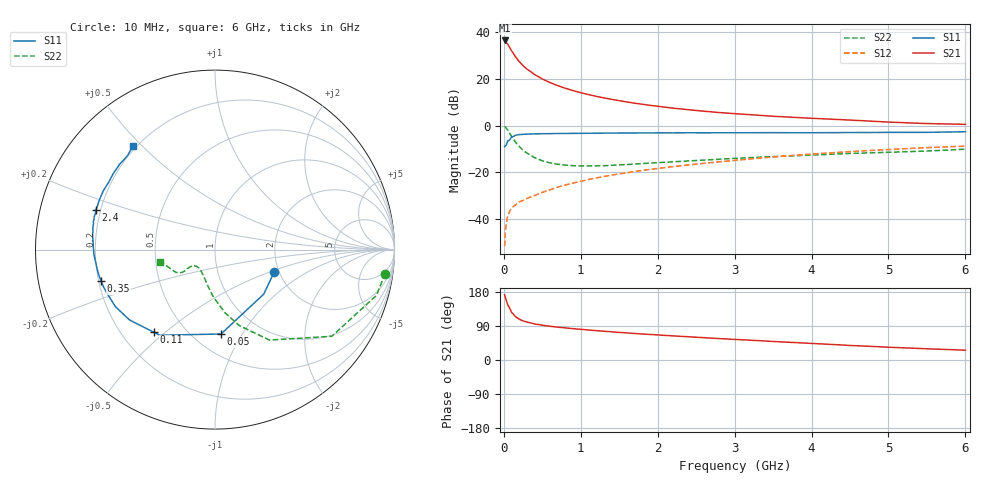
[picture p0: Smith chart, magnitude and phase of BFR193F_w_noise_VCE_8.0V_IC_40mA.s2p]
! Infineon Technologies  Discrete & RF Semiconductors
! BFR193F
! VCE =  8.0 V,  IC =  40 mA
! Common Emitter S-Parameters:  Jan 2017
# GHz  S  MA  R  50
!  f  S11  S21  S12  S22
! GHz  MAG  ANG  MAG  ANG  MAG  ANG  MAG  ANG
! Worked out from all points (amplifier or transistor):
!   77 points, 10 MHz to 6 GHz, reference 50 ohm
!   highest |S21| = 36.5 dB at 10 MHz (marker M1)
!   |S21| within 3 dB of that: start of sweep to 75.17 MHz
!   unconditionally stable (mu >= 1): 980.6 MHz to 2.631 GHz
!   at 130 MHz: K = 0.41, MSG = 32.6 dB, |S12| = -34.5 dB
!   at 2.2 GHz: K = 1.02, MAG = 11.8 dB, |S12| = -17.6 dB
!   at 6 GHz: K = 0.85, MSG = 4.7 dB, |S12| = -8.8 dB
!   lowest NFmin = 1.34 dB at 450 MHz
!   S11 on the Smith chart (normalised r, x): 10 MHz: 1.88, -0.54; 50 MHz: 0.67, -0.81; 110 MHz: 0.33, -0.46; 350 MHz: 0.21, -0.13; 2.4 GHz: 0.18, +0.16; 6 GHz: 0.19, +0.47
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0.01  0.3524 -21.1  66.51 172.1  0.0026 82.5  0.9575 -8.0
0.02  0.3679 -42.4  64.32 164.4  0.0054 79.8  0.9348 -15.9
0.05  0.4713 -85.9  55.63 145.6  0.0116 63.9  0.8101 -36.6
0.1  0.5677 -122.8  40.08 125.4  0.0171 53.5  0.5879 -59.0
0.11  0.5729 -126.6  37.95 123.7  0.0177 52.8  0.5571 -61.1
0.15  0.6168 -140.5  29.9 114.5  0.0199 50.2  0.4438 -72.3
0.2  0.6395 -150.2  23.48 107.7  0.0232 50.9  0.3568 -80.9
0.25  0.6471 -157.0  19.17 103.2  0.0247 51.7  0.2946 -87.5
0.3  0.6551 -161.5  16.22 100.0  0.0273 54.4  0.2567 -93.0
0.35  0.658 -164.6  14.26 97.9  0.0295 56.9  0.23 -96.8
0.4  0.6629 -167.7  12.33 95.1  0.0317 59.0  0.2046 -101.5
0.5  0.6665 -171.8  9.943 91.8  0.037 61.1  0.1756 -108.2
0.6  0.6701 -175.0  8.335 89.0  0.042 64.6  0.1582 -114.2
0.8  0.6765 -179.5  6.279 84.7  0.0531 67.4  0.1416 -124.0
1.1  0.6824 175.4  4.602 79.2  0.0698 70.7  0.1368 -132.9
1.5  0.6903 170.4  3.407 72.9  0.0922 72.1  0.1437 -140.6
2.1  0.6966 164.2  2.471 64.9  0.126 72.6  0.1636 -144.9
2.4  0.7 161.4  2.18 61.3  0.1431 72.4  0.1744 -145.5
3.1  0.7014 155.6  1.752 53.3  0.1854 71.3  0.2011 -144.7
4.1  0.7022 146.8  1.405 42.7  0.2507 67.7  0.2364 -147.0
5.1  0.7131 137.0  1.168 32.9  0.3121 62.5  0.2704 -157.1
6  0.7359 128.6  1.061 25.9  0.3625 57.4  0.3113 -167.5
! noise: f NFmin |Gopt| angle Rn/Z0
0.45  1.34  0.43  179  0.06
0.9  1.42  0.44  180  0.07
1.9  1.98  0.59  -165  0.08
2.4  2.27  0.61  -157  0.13
